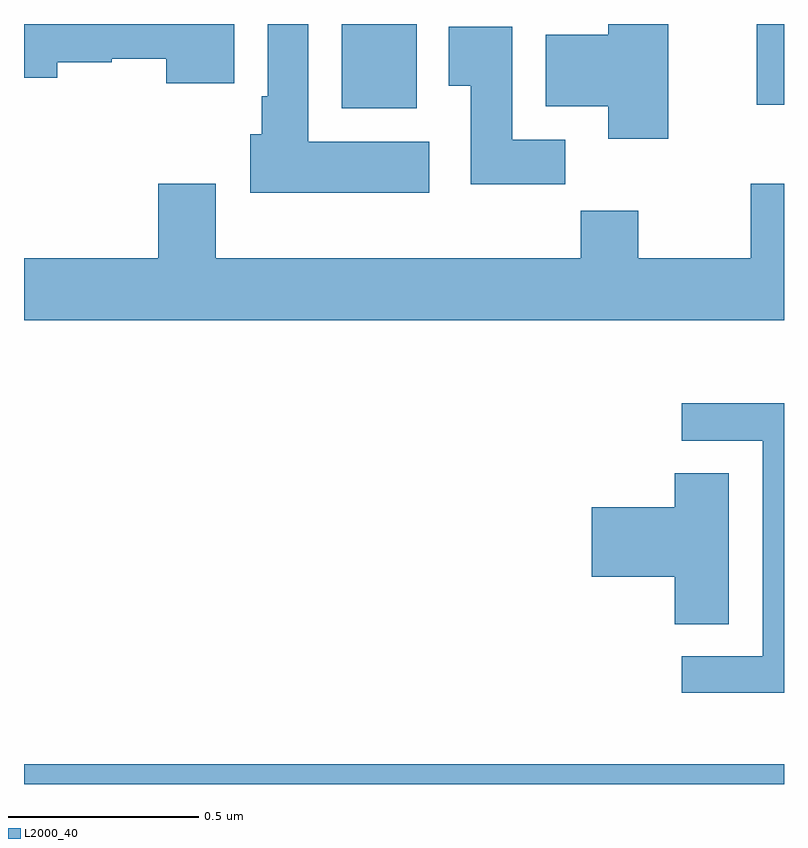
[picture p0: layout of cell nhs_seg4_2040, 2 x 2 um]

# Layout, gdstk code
import gdstk
lib = gdstk.Library(unit=1e-6, precision=1e-09)
def R(c, l, rs):  # rectangles x0, y0, x1, y1
    for r in rs: c.add(gdstk.rectangle(r[:2], r[2:], *l))
def P(c, l, *ps):  # polygons
    for p in ps: c.add(gdstk.Polygon(p, *l))
L2000_40 = (2000, 40)

nhs_seg4_2040 = lib.new_cell('nhs_seg4_2040')
R(nhs_seg4_2040, L2000_40, [(135,828.9,137,828.952), (135.836,830.678,136.033,830.9), (136.928,830.688,137,830.9)])
P(nhs_seg4_2040, L2000_40, [(136.066,830.59),(135.748,830.59),(135.748,830.9),(135.641,830.9),(135.641,830.71),(135.626,830.71),(135.626,830.61),(135.596,830.61),(135.596,830.456),(136.066,830.456)],
  [(136.696,830.9),(136.538,830.9),(136.538,830.872),(136.373,830.872),(136.373,830.684),(136.538,830.684),(136.538,830.598),(136.696,830.598)],
  [(135.553,830.9),(135,830.9),(135,830.758),(135.088,830.758),(135.088,830.8),(135.231,830.8),(135.231,830.808),(135.374,830.808),(135.374,830.744),(135.553,830.744)],
  [(136.424,830.596),(136.285,830.596),(136.285,830.893),(136.118,830.893),(136.118,830.737),(136.175,830.737),(136.175,830.478),(136.424,830.478)],
  [(137,830.479),(136.912,830.479),(136.912,830.284),(136.617,830.284),(136.617,830.408),(136.465,830.408),(136.465,830.284),(135.505,830.284),(135.505,830.479),(135.353,830.479),(135.353,830.284),(135,830.284),(135,830.12),(137,830.12)],
  [(137,829.902),(136.731,829.902),(136.731,829.803),(136.944,829.803),(136.944,829.236),(136.731,829.236),(136.731,829.14),(137,829.14)],
  [(136.855,829.718),(136.712,829.718),(136.712,829.628),(136.494,829.628),(136.494,829.445),(136.712,829.445),(136.712,829.321),(136.855,829.321)])

lib.write_gds('nhs_seg4_2040.gds')
